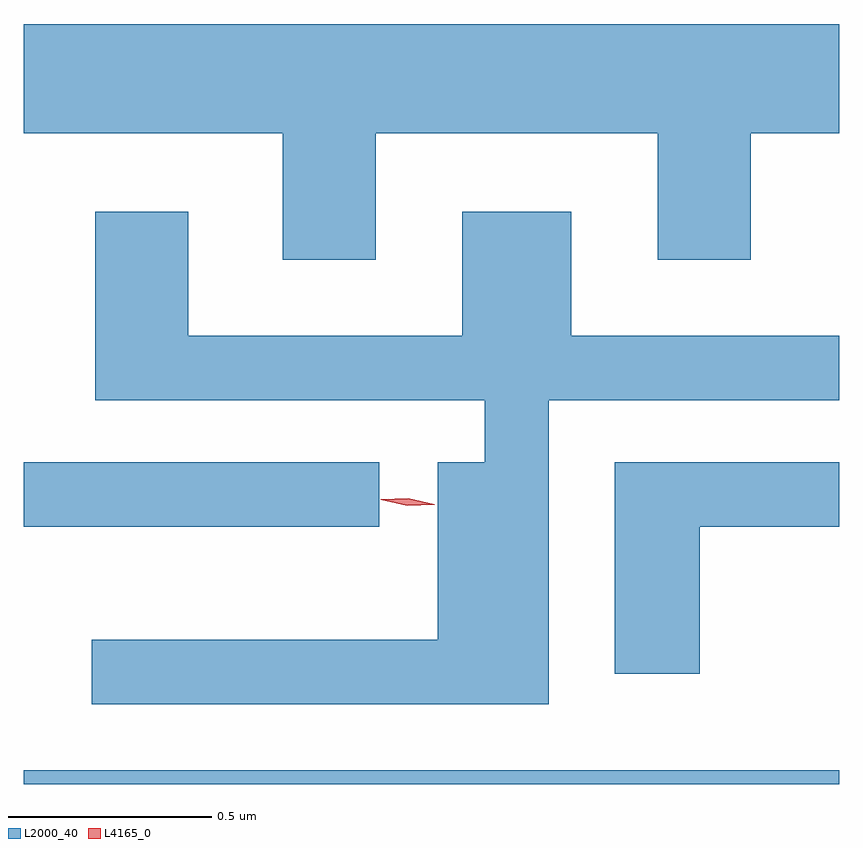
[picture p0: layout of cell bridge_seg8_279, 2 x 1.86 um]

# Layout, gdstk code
import gdstk
lib = gdstk.Library(unit=1e-6, precision=1e-09)
def R(c, l, rs):  # rectangles x0, y0, x1, y1
    for r in rs: c.add(gdstk.rectangle(r[:2], r[2:], *l))
def P(c, l, *ps):  # polygons
    for p in ps: c.add(gdstk.Polygon(p, *l))
L2000_40 = (2000, 40)
L4165_0 = (4165, 0)

bridge_seg8_279 = lib.new_cell('bridge_seg8_279')
R(bridge_seg8_279, L2000_40, [(1355.656,1861.46,1357.656,1861.494), (1355.656,1862.091,1356.528,1862.249)])
P(bridge_seg8_279, L2000_40, [(1356.519,1863.056),(1357.211,1863.056),(1357.211,1862.746),(1357.439,1862.746),(1357.439,1863.056),(1357.656,1863.056),(1357.656,1863.324),(1355.656,1863.324),(1355.656,1863.056),(1356.291,1863.056),(1356.291,1862.746),(1356.519,1862.746)],
  [(1356.944,1862.401),(1357.656,1862.401),(1357.656,1862.559),(1356.999,1862.559),(1356.999,1862.864),(1356.731,1862.864),(1356.731,1862.559),(1356.059,1862.559),(1356.059,1862.864),(1355.831,1862.864),(1355.831,1862.401),(1356.786,1862.401),(1356.786,1862.249),(1356.671,1862.249),(1356.671,1861.814),(1355.823,1861.814),(1355.823,1861.656),(1356.944,1861.656)],
  [(1357.314,1862.091),(1357.656,1862.091),(1357.656,1862.249),(1357.106,1862.249),(1357.106,1861.731),(1357.314,1861.731)])
P(bridge_seg8_279, L4165_0, [(1356.597,1862.142),(1356.532,1862.157),(1356.532,1862.158),(1356.532,1862.158),(1356.599,1862.161),(1356.663,1862.146),(1356.664,1862.145),(1356.663,1862.145)])

lib.write_gds('bridge_seg8_279.gds')
